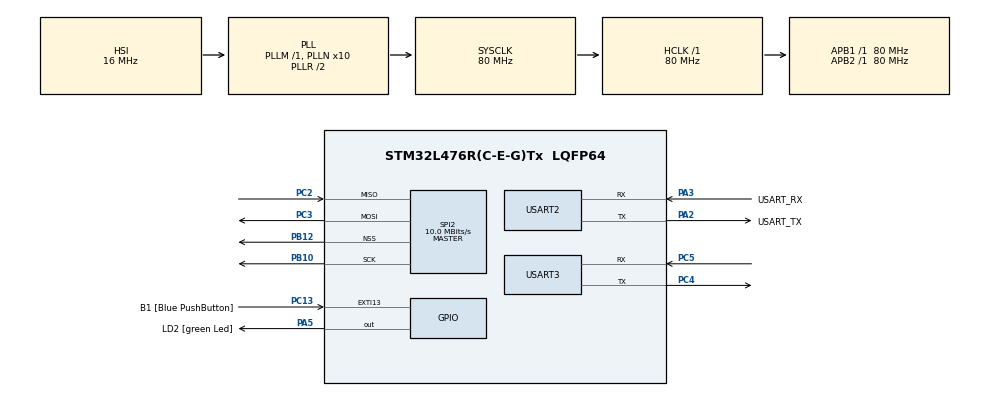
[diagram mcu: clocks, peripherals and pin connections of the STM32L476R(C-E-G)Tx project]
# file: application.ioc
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Mcu.Family=STM32L4
NVIC.USART3_IRQn=true\:0\:0\:false\:false\:true\:true\:true
PC3.Mode=Full_Duplex_Master
PA2.GPIO_PuPd=GPIO_NOPULL
SPI2.VirtualNSS=VM_NSSHARD
RCC.CortexFreq_Value=80000000
FATFS._USE_LFN=1
SPI2.VirtualType=VM_MASTER
PB10.Mode=Full_Duplex_Master
PH0-OSC_IN\ (PH0).Signal=RCC_OSC_IN
PA3.GPIO_PuPd=GPIO_NOPULL
PA2.GPIO_Speed=GPIO_SPEED_FREQ_VERY_HIGH
PC15-OSC32_OUT\ (PC15).Mode=LSE-External-Oscillator
PC5.Mode=Asynchronous
PC13.GPIO_Label=B1 [Blue PushButton]
PA3.GPIO_Speed=GPIO_SPEED_FREQ_VERY_HIGH
RCC.SYSCLKSource=RCC_SYSCLKSOURCE_PLLCLK
ProjectManager.StackSize=0x400
PB3\ (JTDO-TRACESWO).Signal=SYS_JTDO-SWO
PC14-OSC32_IN\ (PC14).Mode=LSE-External-Oscillator
USART3.VirtualMode-Asynchronous=VM_ASYNC
PA14\ (JTCK-SWCLK).Signal=SYS_JTCK-SWCLK
RCC.HCLKFreq_Value=80000000
RCC.APB2TimFreq_Value=80000000
TIM3.Period=1000-1
PC3.Signal=SPI2_MOSI
RCC.AHBFreq_Value=80000000
RCC.PREFETCH_ENABLE=1
SPI2.BaudRatePrescaler=SPI_BAUDRATEPRESCALER_8
RCC.HSE_VALUE=8000000
USART2.VirtualMode-Asynchronous=VM_ASYNC
TIM3.Prescaler=8000-1
PA5.GPIO_PuPd=GPIO_NOPULL
NVIC.TIM2_IRQn=true\:0\:0\:false\:false\:true\:true\:true
PC13.GPIO_PuPd=GPIO_NOPULL
SPI2.CalculateBaudRate=10.0 MBits/s
Mcu.Package=LQFP64
TIM2.Prescaler=8000-1
PB12.Mode=NSS_Signal_Hard_Output
SPI2.Mode=SPI_MODE_MASTER
PA2.GPIO_Label=USART_TX
RCC.APB1TimFreq_Value=80000000
SPI2.Direction=SPI_DIRECTION_2LINES
PC5.Signal=USART3_RX
PA13\ (JTMS-SWDIO).Signal=SYS_JTMS-SWDIO
VP_TIM3_VS_ClockSourceINT.Mode=Internal
PC4.Mode=Asynchronous
PA3.Signal=USART2_RX
PA2.GPIO_Mode=GPIO_MODE_AF_PP
RCC.MSI_VALUE=4000000
RCC.PLLSourceVirtual=RCC_PLLSOURCE_HSI
PA14\ (JTCK-SWCLK).Mode=Serial_Wire
PC13.Signal=GPXTI13
PC2.Signal=SPI2_MISO
PC4.Signal=USART3_TX
PC2.Mode=Full_Duplex_Master
PC15-OSC32_OUT\ (PC15).Signal=RCC_OSC32_OUT
PA14\ (JTCK-SWCLK).GPIO_Label=TCK
PB3\ (JTDO-TRACESWO).GPIO_Label=SWO
PH1-OSC_OUT\ (PH1).Signal=RCC_OSC_OUT
PA3.Mode=Asynchronous
ProjectManager.TargetToolchain=STM32CubeIDE
PA3.GPIO_Mode=GPIO_MODE_AF_PP
RCC.USBFreq_Value=64000000
VP_FATFS_VS_Generic.Mode=User_defined
PB10.Signal=SPI2_SCK
PA5.Signal=GPIO_Output
board=NUCLEO-L476RG
RCC.VCOOutputFreq_Value=160000000
NVIC.TIM3_IRQn=true\:0\:0\:false\:false\:true\:true\:true
RCC.APB2Freq_Value=80000000
PA5.GPIO_ModeDefaultOutputPP=GPIO_MODE_OUTPUT_PP
PA13\ (JTMS-SWDIO).GPIO_Label=TMS
VP_TIM2_VS_ClockSourceINT.Mode=Internal
RCC.ADCFreq_Value=64000000
TIM2.Period=1000-1
Mcu.Name=STM32L476R(C-E-G)Tx
PA2.Signal=USART2_TX
FATFS._MAX_SS=4096
PA13\ (JTMS-SWDIO).Mode=Serial_Wire
RCC.SYSCLKFreq_VALUE=80000000
PA5.GPIO_Label=LD2 [green Led]
PC13.GPIO_ModeDefaultEXTI=GPIO_MODE_IT_FALLING
PC14-OSC32_IN\ (PC14).Signal=RCC_OSC32_IN
ProjectManager.HeapSize=0x200
RCC.HSI_VALUE=16000000
PA5.GPIO_Speed=GPIO_SPEED_FREQ_LOW
NVIC.PriorityGroup=NVIC_PRIORITYGROUP_4
RCC.PLLN=10
PA2.Mode=Asynchronous
SPI2.DataSize=SPI_DATASIZE_8BIT
RCC.APB1Freq_Value=80000000
PB12.Signal=SPI2_NSS
PA3.GPIO_Label=USART_RX

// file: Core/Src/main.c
/* USER CODE BEGIN Header */
/**
 ******************************************************************************
 * @file           : main.c
 * @brief          : Main program body
 ******************************************************************************
 * @attention
 *
 * <h2><center>&copy; Copyright (c) 2021 STMicroelectronics.
 * All rights reserved.</center></h2>
 *
 * This software component is licensed by ST under BSD 3-Clause license,
 * the "License"; You may not use this file except in compliance with the
 * License. You may obtain a copy of the License at:
 *                        opensource.org/licenses/BSD-3-Clause
 *
 ******************************************************************************
 */
/* USER CODE END Header */
#include "main.h"
#include "fatfs.h"
#include "spi.h"
#include "tim.h"
#include "usart.h"
#include "gpio.h"

/* USER CODE BEGIN Includes */
#include <stdio.h>
#include <string.h>
#include "fatfs_sd.h"
/* USER CODE END Includes */

/* USER CODE BEGIN PV */
volatile int index_counter = 0;
volatile char single_char;
volatile char one_line[150];

FATFS fs;
FIL fil;
FRESULT fresult;

char buffer[1024];
UINT br, bw;

FATFS *pfs;
DWORD fre_clust;
uint32_t total, free_space;

/* USER CODE END PV */

void SystemClock_Config(void);

int main(void) {

	/* MCU Configuration--------------------------------------------------------*/

	/* Reset of all peripherals, Initializes the Flash interface and the Systick. */
	HAL_Init();

	/* Configure the system clock */
	SystemClock_Config();

	/* Initialize all configured peripherals */
	MX_GPIO_Init();
	MX_USART2_UART_Init();
	MX_USART3_UART_Init();
	MX_FATFS_Init();
	MX_SPI2_Init();
	MX_TIM2_Init();
	MX_TIM3_Init();
	/* USER CODE BEGIN 2 */
	HAL_NVIC_SetPriority(EXTI15_10_IRQn, 1, 1);
	HAL_NVIC_EnableIRQ(EXTI15_10_IRQn);

	HAL_UART_Receive_IT(&huart3, &single_char, 1);

	printf("Hello!\r\n");

	fresult = f_mount(&fs, "", 0);
	if (fresult != FR_OK) {
		printf("Error when mounting SD card.\r\n");
	} else {
		printf("SD card mounted successfully.\r\n");
	}
	HAL_Delay(10);
	// Check free space
	f_getfree("", &fre_clust, &pfs);

	total = (uint32_t) ((pfs->n_fatent - 2) * pfs->csize * 0.5);
	printf("SD card total size: %.2f GB\r\n", total / 1024.0 / 1024.0);

	free_space = (uint32_t) (fre_clust * pfs->csize * 0.5);
	printf("SD card free space: %.2f GB\r\n", free_space / 1024.0 / 1024.0);

	// Open file to write/ create a file if it doesn't exist
	fresult = f_open(&fil, "sleep.txt", FA_OPEN_ALWAYS | FA_READ | FA_WRITE);
	HAL_Delay(10);
	// Writing text
	fresult = f_write(&fil, "Hello World!\r\n", strlen("Hello World!\r\n"),
			&bw);
	fresult = f_write(&fil, "2. line\r\n", strlen("2. line\r\n"), &bw);

	// Close file
	fresult = f_close(&fil);
	printf("file1.txt created and the data is written.\r\n");

#define AT_BUFF_SIZE	100
	char at_buff[AT_BUFF_SIZE] = { '\0' };

	sprintf(at_buff, "AT+CPIN=9526\r\n");
	HAL_UART_Transmit(&huart3, at_buff, strlen(at_buff), 0xFFFF);
	memset(at_buff, '\0', AT_BUFF_SIZE);
	HAL_Delay(13000);

	sprintf(at_buff, "AT+SAPBR=3,1,\"Contype\",\"GPRS\"\r\n");
	HAL_UART_Transmit(&huart3, at_buff, strlen(at_buff), 0xFFFF);
	memset(at_buff, '\0', AT_BUFF_SIZE);
	HAL_Delay(2000);

	sprintf(at_buff, "AT+SAPBR=3,1,\"APN\",\"internet.vodafone.net\"\r\n");
	HAL_UART_Transmit(&huart3, at_buff, strlen(at_buff), 0xFFFF);
	memset(at_buff, '\0', AT_BUFF_SIZE);
	HAL_Delay(2000);

	sprintf(at_buff, "AT+SAPBR=1,1\r\n");
	HAL_UART_Transmit(&huart3, at_buff, strlen(at_buff), 0xFFFF);
	memset(at_buff, '\0', AT_BUFF_SIZE);
	HAL_Delay(2000);

	sprintf(at_buff, "AT+HTTPINIT\r\n");
	HAL_UART_Transmit(&huart3, at_buff, strlen(at_buff), 0xFFFF);
	memset(at_buff, '\0', AT_BUFF_SIZE);
	HAL_Delay(2000);

	sprintf(at_buff, "AT+HTTPPARA=\"CID\",1\r\n");
	HAL_UART_Transmit(&huart3, at_buff, strlen(at_buff), 0xFFFF);
	memset(at_buff, '\0', AT_BUFF_SIZE);
	HAL_Delay(2000);

	uint16_t binary_size = 15420;
	const uint16_t chunk_size = 512;
	uint16_t total_chunks = binary_size / chunk_size;
	uint16_t remainder = binary_size % chunk_size;

	if (remainder != 0) {
		total_chunks += 1;
		printf("Total chunks: %d (%d complete and %d remaining bytes.\r\n",
				total_chunks, total_chunks - 1, remainder);
	} else {
		printf("Total chunks: %d (exactly, without remaining bytes).\r\n",
				total_chunks);
	}

	uint16_t from = 0;
	uint16_t to = from + chunk_size;

	for (int i = 0; i < total_chunks; i++) {

		printf("Chunk [%d/%d] (from byte %d to byte %d)\r\n", i + 1,
				total_chunks, from, to);
		sprintf(at_buff,
				"AT+HTTPPARA=\"URL\",\"http://30bed96aa41a.ngrok.io/fota/chunks/bytes/%d-%d\"\r\n",
				from, to);

		if (i == (total_chunks - 2)) {
			from = to;
			to = to + remainder;
		} else {
			from = to;
			to = to + chunk_size;
		}

		HAL_UART_Transmit(&huart3, at_buff, strlen(at_buff), 0xFFFF);
		memset(at_buff, '\0', AT_BUFF_SIZE);
		HAL_Delay(1000);

		sprintf(at_buff, "AT+HTTPACTION=0\r\n");
		HAL_UART_Transmit(&huart3, at_buff, strlen(at_buff), 0xFFFF);
		memset(at_buff, '\0', AT_BUFF_SIZE);
		HAL_Delay(1000);

		sprintf(at_buff, "AT+HTTPREAD\r\n");
		HAL_UART_Transmit(&huart3, at_buff, strlen(at_buff), 0xFFFF);
		memset(at_buff, '\0', AT_BUFF_SIZE);
		HAL_Delay(1000);
		printf("=============================================\r\n");
	}

	printf("Performing self-reset in 2 seconds...\r\n");
	HAL_Delay(2000);
	HAL_NVIC_SystemReset();

	/* USER CODE END 2 */

	/* Infinite loop */
	while (1) {

		/* USER CODE BEGIN 3 */
		printf("Hi from application!\r\n");
		HAL_GPIO_TogglePin(GPIOA, GPIO_PIN_5);
		HAL_Delay(1500);
	}
	/* USER CODE END 3 */
}

void SystemClock_Config(void) {
	RCC_OscInitTypeDef RCC_OscInitStruct = { 0 };
	RCC_ClkInitTypeDef RCC_ClkInitStruct = { 0 };
	RCC_PeriphCLKInitTypeDef PeriphClkInit = { 0 };

	/** Initializes the RCC Oscillators according to the specified parameters
	 * in the RCC_OscInitTypeDef structure.
	 */
	RCC_OscInitStruct.OscillatorType = RCC_OSCILLATORTYPE_HSI;
	RCC_OscInitStruct.HSIState = RCC_HSI_ON;
	RCC_OscInitStruct.HSICalibrationValue = RCC_HSICALIBRATION_DEFAULT;
	RCC_OscInitStruct.PLL.PLLState = RCC_PLL_ON;
	RCC_OscInitStruct.PLL.PLLSource = RCC_PLLSOURCE_HSI;
	RCC_OscInitStruct.PLL.PLLM = 1;
	RCC_OscInitStruct.PLL.PLLN = 10;
	RCC_OscInitStruct.PLL.PLLP = RCC_PLLP_DIV7;
	RCC_OscInitStruct.PLL.PLLQ = RCC_PLLQ_DIV2;
	RCC_OscInitStruct.PLL.PLLR = RCC_PLLR_DIV2;
	if (HAL_RCC_OscConfig(&RCC_OscInitStruct) != HAL_OK) {
		Error_Handler();
	}
	/** Initializes the CPU, AHB and APB buses clocks
	 */
	RCC_ClkInitStruct.ClockType = RCC_CLOCKTYPE_HCLK | RCC_CLOCKTYPE_SYSCLK
			| RCC_CLOCKTYPE_PCLK1 | RCC_CLOCKTYPE_PCLK2;
	RCC_ClkInitStruct.SYSCLKSource = RCC_SYSCLKSOURCE_PLLCLK;
	RCC_ClkInitStruct.AHBCLKDivider = RCC_SYSCLK_DIV1;
	RCC_ClkInitStruct.APB1CLKDivider = RCC_HCLK_DIV1;
	RCC_ClkInitStruct.APB2CLKDivider = RCC_HCLK_DIV1;

	if (HAL_RCC_ClockConfig(&RCC_ClkInitStruct, FLASH_LATENCY_4) != HAL_OK) {
		Error_Handler();
	}
	PeriphClkInit.PeriphClockSelection = RCC_PERIPHCLK_USART2
			| RCC_PERIPHCLK_USART3;
	PeriphClkInit.Usart2ClockSelection = RCC_USART2CLKSOURCE_PCLK1;
	PeriphClkInit.Usart3ClockSelection = RCC_USART3CLKSOURCE_PCLK1;
	if (HAL_RCCEx_PeriphCLKConfig(&PeriphClkInit) != HAL_OK) {
		Error_Handler();
	}
	/** Configure the main internal regulator output voltage
	 */
	if (HAL_PWREx_ControlVoltageScaling(PWR_REGULATOR_VOLTAGE_SCALE1)
			!= HAL_OK) {
		Error_Handler();
	}
}

/* USER CODE BEGIN 4 */

int __io_putchar(int ch) {
	HAL_UART_Transmit(&huart2, (uint8_t*) &ch, 1, 0xFFFF);
	return ch;
}

void HAL_GPIO_EXTI_Callback(uint16_t GPIO_Pin) {

	if (GPIO_Pin == GPIO_PIN_13) {
		printf("Blue pushbutton called.\r\n");
	}
}

void HAL_UART_RxCpltCallback(UART_HandleTypeDef *husart) {
	if (husart->Instance == USART3) {
		if (single_char != '\n' && index_counter < sizeof(one_line) - 1) {
			one_line[index_counter] = single_char;
			index_counter++;
		} else {
			one_line[index_counter] = '\0';
			printf("%s ", one_line);
			index_counter = 0;
		}
		HAL_UART_Receive_IT(&huart3, &single_char, 1);
	}
}

/* USER CODE END 4 */

void Error_Handler(void) {
	__disable_irq();
	while (1) {
	}
}

/************************ (C) COPYRIGHT STMicroelectronics *****END OF FILE****/
